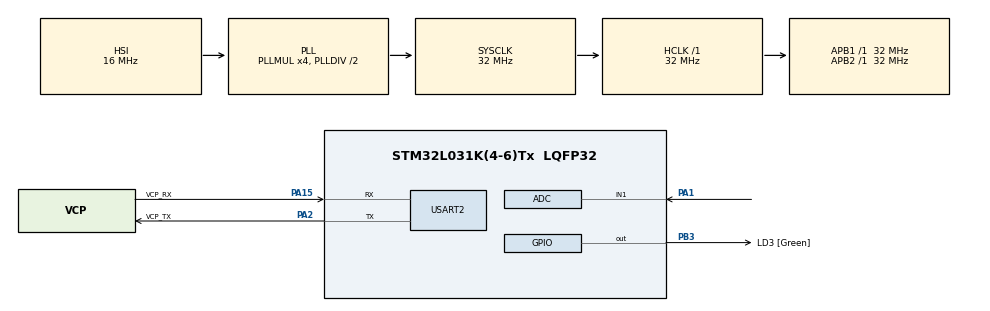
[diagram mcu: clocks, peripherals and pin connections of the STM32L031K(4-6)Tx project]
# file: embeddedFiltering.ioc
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ADC.ContinuousConvMode=DISABLE
ADC.DMAContinuousRequests=ENABLE
ADC.ExternalTrigConv=ADC_EXTERNALTRIGCONV_T2_TRGO
ADC.Resolution=ADC_RESOLUTION_12B
ADC.SamplingTime=ADC_SAMPLETIME_160CYCLES_5
Dma.ADC.0.Direction=DMA_PERIPH_TO_MEMORY
Dma.ADC.0.Instance=DMA1_Channel1
Dma.ADC.0.MemDataAlignment=DMA_MDATAALIGN_HALFWORD
Dma.ADC.0.MemInc=DMA_MINC_ENABLE
Dma.ADC.0.Mode=DMA_CIRCULAR
Dma.ADC.0.PeriphDataAlignment=DMA_PDATAALIGN_HALFWORD
Dma.ADC.0.PeriphInc=DMA_PINC_DISABLE
Dma.ADC.0.Priority=DMA_PRIORITY_MEDIUM
Dma.Request0=ADC
Mcu.Family=STM32L0
Mcu.Name=STM32L031K(4-6)Tx
Mcu.Package=LQFP32
NVIC.DMA1_Channel1_IRQn=true\:0\:0\:false\:false\:true\:false\:true\:true
NVIC.TIM2_IRQn=true\:0\:0\:false\:false\:true\:true\:true\:true
NVIC.USART2_IRQn=true\:0\:0\:false\:false\:true\:true\:true\:true
PA0-CK_IN.Mode=HSE-External-Clock-Source-for-LittleNemo
PA0-CK_IN.Signal=RCC_CK_IN
PA1.Mode=IN1
PA1.Signal=ADC_IN1
PA13.GPIO_Label=TMS
PA13.Mode=Serial_Wire
PA13.Signal=SYS_SWDIO
PA14.GPIO_Label=TCK
PA14.Mode=Serial_Wire
PA14.Signal=SYS_SWCLK
PA15.GPIO_Label=VCP_RX
PA15.Mode=Asynchronous
PA15.Signal=USART2_RX
PA2.GPIO_Label=VCP_TX
PA2.Mode=Asynchronous
PA2.Signal=USART2_TX
PB3.GPIO_Label=LD3 [Green]
PB3.Signal=GPIO_Output
PC14-OSC32_IN.Mode=LSE-External-Oscillator
PC14-OSC32_IN.Signal=RCC_OSC32_IN
PC15-OSC32_OUT.Mode=LSE-External-Oscillator
PC15-OSC32_OUT.Signal=RCC_OSC32_OUT
ProjectManager.HeapSize=0x400
ProjectManager.StackSize=0x400
ProjectManager.TargetToolchain=STM32CubeIDE
RCC.AHBFreq_Value=32000000
RCC.APB1Freq_Value=32000000
RCC.APB1TimFreq_Value=32000000
RCC.APB2Freq_Value=32000000
RCC.APB2TimFreq_Value=32000000
RCC.HCLKFreq_Value=32000000
RCC.HSE_VALUE=8000000
RCC.HSI16_VALUE=16000000
RCC.HSI48_VALUE=48000000
RCC.HSI_VALUE=16000000
RCC.MSI_VALUE=2097000
RCC.PLLMUL=RCC_PLLMUL_4
RCC.SYSCLKFreq_VALUE=32000000
RCC.SYSCLKSource=RCC_SYSCLKSOURCE_PLLCLK
RCC.VCOOutputFreq_Value=64000000
TIM2.Period=31999
TIM2.Prescaler=0
TIM2.TIM_MasterOutputTrigger=TIM_TRGO_UPDATE
TIM2.TIM_MasterSlaveMode=TIM_MASTERSLAVEMODE_ENABLE
USART2.VirtualMode-Asynchronous=VM_ASYNC
USART2.WordLength=WORDLENGTH_8B
VP_TIM2_VS_ClockSourceINT.Mode=Internal
board=NUCLEO-L031K6

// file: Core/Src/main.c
/* USER CODE BEGIN Header */
/**
  ******************************************************************************
  * @file           : main.c
  * @brief          : Main program body
  ******************************************************************************
  * @attention
  *
  * Copyright (c) 2025 STMicroelectronics.
  * All rights reserved.
  *
  * This software is licensed under terms that can be found in the LICENSE file
  * in the root directory of this software component.
  * If no LICENSE file comes with this software, it is provided AS-IS.
  *
  ******************************************************************************
  */
/* USER CODE END Header */
#include "main.h"

/* USER CODE BEGIN Includes */
#include "filter.h"
/* USER CODE END Includes */

/* USER CODE BEGIN PD */
#define SAMPLE_RATE 1000.0f
/* USER CODE END PD */

ADC_HandleTypeDef hadc;
DMA_HandleTypeDef hdma_adc;

TIM_HandleTypeDef htim2;

UART_HandleTypeDef huart2;

/* USER CODE BEGIN PV */
volatile uint32_t count = 0;

volatile uint32_t rawSignal = 0;
volatile uint32_t processedValue = 0;

char txBuffer[20];
uint8_t rxBuffer;

volatile int txReady = 1;
volatile uint8_t isStreaming = 0;
volatile uint8_t filterMode = 0;

BWLowPass  filtLPF;
BWHighPass filtHPF;
BWBandPass filtBPF;
BWBandStop filtBSF;

/* USER CODE END PV */

void SystemClock_Config(void);
static void MX_GPIO_Init(void);
static void MX_DMA_Init(void);
static void MX_USART2_UART_Init(void);
static void MX_ADC_Init(void);
static void MX_TIM2_Init(void);
/* USER CODE BEGIN PFP */
void Tiny_UIntToString(uint32_t value, char* buffer);
/* USER CODE END PFP */

int main(void)
{

  /* MCU Configuration--------------------------------------------------------*/

  /* Reset of all peripherals, Initializes the Flash interface and the Systick. */
  HAL_Init();

  /* Configure the system clock */
  SystemClock_Config();

  /* Initialize all configured peripherals */
  MX_GPIO_Init();
  MX_DMA_Init();
  MX_USART2_UART_Init();
  MX_ADC_Init();
  MX_TIM2_Init();
  /* USER CODE BEGIN 2 */
  HAL_TIM_Base_Start_IT(&htim2);
  HAL_ADC_Start_DMA(&hadc, (uint32_t*)(void*)&rawSignal, 1);
  HAL_UART_Transmit_IT(&huart2, (uint8_t*)txBuffer, 1);
  HAL_UART_Receive_IT(&huart2, &rxBuffer, 1);

  init_bw_low_pass(&filtLPF, 4, SAMPLE_RATE, 15.0f);
  init_bw_high_pass(&filtHPF, 4, SAMPLE_RATE, 95.0f);
  init_bw_band_pass(&filtBPF, 4, SAMPLE_RATE, 45.0f, 55.0f);
  init_bw_band_stop(&filtBSF, 4, SAMPLE_RATE, 40.0f, 60.0f);

  /* USER CODE END 2 */

  /* Infinite loop */
  while (1)
  {

  }
}

void SystemClock_Config(void)
{
  RCC_OscInitTypeDef RCC_OscInitStruct = {0};
  RCC_ClkInitTypeDef RCC_ClkInitStruct = {0};
  RCC_PeriphCLKInitTypeDef PeriphClkInit = {0};

  /** Configure the main internal regulator output voltage
  */
  __HAL_PWR_VOLTAGESCALING_CONFIG(PWR_REGULATOR_VOLTAGE_SCALE1);

  /** Initializes the RCC Oscillators according to the specified parameters
  * in the RCC_OscInitTypeDef structure.
  */
  RCC_OscInitStruct.OscillatorType = RCC_OSCILLATORTYPE_HSI;
  RCC_OscInitStruct.HSIState = RCC_HSI_ON;
  RCC_OscInitStruct.HSICalibrationValue = RCC_HSICALIBRATION_DEFAULT;
  RCC_OscInitStruct.PLL.PLLState = RCC_PLL_ON;
  RCC_OscInitStruct.PLL.PLLSource = RCC_PLLSOURCE_HSI;
  RCC_OscInitStruct.PLL.PLLMUL = RCC_PLLMUL_4;
  RCC_OscInitStruct.PLL.PLLDIV = RCC_PLLDIV_2;
  if (HAL_RCC_OscConfig(&RCC_OscInitStruct) != HAL_OK)
  {
    Error_Handler();
  }

  /** Initializes the CPU, AHB and APB buses clocks
  */
  RCC_ClkInitStruct.ClockType = RCC_CLOCKTYPE_HCLK|RCC_CLOCKTYPE_SYSCLK
                              |RCC_CLOCKTYPE_PCLK1|RCC_CLOCKTYPE_PCLK2;
  RCC_ClkInitStruct.SYSCLKSource = RCC_SYSCLKSOURCE_PLLCLK;
  RCC_ClkInitStruct.AHBCLKDivider = RCC_SYSCLK_DIV1;
  RCC_ClkInitStruct.APB1CLKDivider = RCC_HCLK_DIV1;
  RCC_ClkInitStruct.APB2CLKDivider = RCC_HCLK_DIV1;

  if (HAL_RCC_ClockConfig(&RCC_ClkInitStruct, FLASH_LATENCY_1) != HAL_OK)
  {
    Error_Handler();
  }
  PeriphClkInit.PeriphClockSelection = RCC_PERIPHCLK_USART2;
  PeriphClkInit.Usart2ClockSelection = RCC_USART2CLKSOURCE_PCLK1;
  if (HAL_RCCEx_PeriphCLKConfig(&PeriphClkInit) != HAL_OK)
  {
    Error_Handler();
  }
}

static void MX_ADC_Init(void)
{

  ADC_ChannelConfTypeDef sConfig = {0};

  /** Configure the global features of the ADC (Clock, Resolution, Data Alignment and number of conversion)
  */
  hadc.Instance = ADC1;
  hadc.Init.OversamplingMode = DISABLE;
  hadc.Init.ClockPrescaler = ADC_CLOCK_SYNC_PCLK_DIV2;
  hadc.Init.Resolution = ADC_RESOLUTION_12B;
  hadc.Init.SamplingTime = ADC_SAMPLETIME_160CYCLES_5;
  hadc.Init.ScanConvMode = ADC_SCAN_DIRECTION_FORWARD;
  hadc.Init.DataAlign = ADC_DATAALIGN_RIGHT;
  hadc.Init.ContinuousConvMode = DISABLE;
  hadc.Init.DiscontinuousConvMode = DISABLE;
  hadc.Init.ExternalTrigConvEdge = ADC_EXTERNALTRIGCONVEDGE_RISING;
  hadc.Init.ExternalTrigConv = ADC_EXTERNALTRIGCONV_T2_TRGO;
  hadc.Init.DMAContinuousRequests = ENABLE;
  hadc.Init.EOCSelection = ADC_EOC_SINGLE_CONV;
  hadc.Init.Overrun = ADC_OVR_DATA_PRESERVED;
  hadc.Init.LowPowerAutoWait = DISABLE;
  hadc.Init.LowPowerFrequencyMode = DISABLE;
  hadc.Init.LowPowerAutoPowerOff = DISABLE;
  if (HAL_ADC_Init(&hadc) != HAL_OK)
  {
    Error_Handler();
  }

  /** Configure for the selected ADC regular channel to be converted.
  */
  sConfig.Channel = ADC_CHANNEL_1;
  sConfig.Rank = ADC_RANK_CHANNEL_NUMBER;
  if (HAL_ADC_ConfigChannel(&hadc, &sConfig) != HAL_OK)
  {
    Error_Handler();
  }

}

static void MX_TIM2_Init(void)
{

  TIM_ClockConfigTypeDef sClockSourceConfig = {0};
  TIM_MasterConfigTypeDef sMasterConfig = {0};

  htim2.Instance = TIM2;
  htim2.Init.Prescaler = 0;
  htim2.Init.CounterMode = TIM_COUNTERMODE_UP;
  htim2.Init.Period = 31999;
  htim2.Init.ClockDivision = TIM_CLOCKDIVISION_DIV1;
  htim2.Init.AutoReloadPreload = TIM_AUTORELOAD_PRELOAD_DISABLE;
  if (HAL_TIM_Base_Init(&htim2) != HAL_OK)
  {
    Error_Handler();
  }
  sClockSourceConfig.ClockSource = TIM_CLOCKSOURCE_INTERNAL;
  if (HAL_TIM_ConfigClockSource(&htim2, &sClockSourceConfig) != HAL_OK)
  {
    Error_Handler();
  }
  sMasterConfig.MasterOutputTrigger = TIM_TRGO_UPDATE;
  sMasterConfig.MasterSlaveMode = TIM_MASTERSLAVEMODE_ENABLE;
  if (HAL_TIMEx_MasterConfigSynchronization(&htim2, &sMasterConfig) != HAL_OK)
  {
    Error_Handler();
  }

}

static void MX_USART2_UART_Init(void)
{

  huart2.Instance = USART2;
  huart2.Init.BaudRate = 115200;
  huart2.Init.WordLength = UART_WORDLENGTH_8B;
  huart2.Init.StopBits = UART_STOPBITS_1;
  huart2.Init.Parity = UART_PARITY_NONE;
  huart2.Init.Mode = UART_MODE_TX_RX;
  huart2.Init.HwFlowCtl = UART_HWCONTROL_NONE;
  huart2.Init.OverSampling = UART_OVERSAMPLING_16;
  huart2.Init.OneBitSampling = UART_ONE_BIT_SAMPLE_DISABLE;
  huart2.AdvancedInit.AdvFeatureInit = UART_ADVFEATURE_NO_INIT;
  if (HAL_UART_Init(&huart2) != HAL_OK)
  {
    Error_Handler();
  }

}

static void MX_DMA_Init(void)
{

  /* DMA controller clock enable */
  __HAL_RCC_DMA1_CLK_ENABLE();

  /* DMA interrupt init */
  /* DMA1_Channel1_IRQn interrupt configuration */
  HAL_NVIC_SetPriority(DMA1_Channel1_IRQn, 0, 0);
  HAL_NVIC_EnableIRQ(DMA1_Channel1_IRQn);

}

static void MX_GPIO_Init(void)
{
  GPIO_InitTypeDef GPIO_InitStruct = {0};

  /* GPIO Ports Clock Enable */
  __HAL_RCC_GPIOC_CLK_ENABLE();
  __HAL_RCC_GPIOA_CLK_ENABLE();
  __HAL_RCC_GPIOB_CLK_ENABLE();

  /*Configure GPIO pin Output Level */
  HAL_GPIO_WritePin(LD3_GPIO_Port, LD3_Pin, GPIO_PIN_RESET);

  /*Configure GPIO pin : LD3_Pin */
  GPIO_InitStruct.Pin = LD3_Pin;
  GPIO_InitStruct.Mode = GPIO_MODE_OUTPUT_PP;
  GPIO_InitStruct.Pull = GPIO_NOPULL;
  GPIO_InitStruct.Speed = GPIO_SPEED_FREQ_LOW;
  HAL_GPIO_Init(LD3_GPIO_Port, &GPIO_InitStruct);

}

/* USER CODE BEGIN 4 */
/* USER CODE BEGIN 4 */
/* USER CODE BEGIN 4 */
void HAL_TIM_PeriodElapsedCallback(TIM_HandleTypeDef *htim){
    if (htim->Instance == TIM2){
        float input = (float)rawSignal;
        float output = input;

        switch (filterMode) {
            case 0: // Raw
                output = input;
                break;
            case 1: // LPF
                // LPF passes DC, so it usually doesn't need bias adjustment
                output = bw_low_pass(&filtLPF, input);
                break;
            case 2: // HPF
                // HPF removes DC (output centers at 0).
                // We add 2048 to see the AC signal on the 0-4095 plot.
                output = bw_high_pass(&filtHPF, input) + 2048.0f;
                break;
            case 3: // BPF
                // BPF also removes DC. Add bias.
                output = bw_band_pass(&filtBPF, input) + 2048.0f;
                break;
            case 4: // BSF
                // BSF passes DC, so we don't add bias (input DC is preserved)
                output = bw_band_stop(&filtBSF, input);
                break;
            default:
                output = input;
                break;
        }

        // Clamp to safety
        if (output < 0.0f) output = 0.0f;
        if (output > 4095.0f) output = 4095.0f;

        processedValue = (uint32_t)output;
    }
}

void HAL_ADC_ConvCpltCallback(ADC_HandleTypeDef *hadc)
{
    if (hadc->Instance == ADC1)
    {
        if (isStreaming == 1 && txReady == 1) {
            txReady = 0;

            Tiny_UIntToString(processedValue, txBuffer);
            uint8_t len = 0;
            while(txBuffer[len] != '\0') len++;

            HAL_UART_Transmit_IT(&huart2, (uint8_t*)txBuffer, len);
        }
    }
}

void HAL_UART_TxCpltCallback(UART_HandleTypeDef *huart){
	if (huart->Instance == USART2){
		txReady = 1;
	}
}

void HAL_UART_RxCpltCallback(UART_HandleTypeDef *huart){
    if (huart->Instance == USART2){
        switch (rxBuffer) {
            case 's':
                filterMode = 0;
                isStreaming = 1;
                if (htim2.State != HAL_TIM_STATE_BUSY) HAL_TIM_Base_Start_IT(&htim2);
                break;
            case 'p':
                isStreaming = 0;
                HAL_TIM_Base_Stop_IT(&htim2);
                break;
            case 'a':
                filterMode = 1;
                break;
            case 'b':
                filterMode = 2;
                break;
            case 'c':
                filterMode = 3;
                break;
            case 'd':
                filterMode = 4;
                break;
        }
        HAL_UART_Receive_IT(&huart2, &rxBuffer, 1);
    }
}

void Tiny_UIntToString(uint32_t value, char* buffer) {
    char temp[12];
    int i = 0;

    if (value == 0) {
        buffer[0] = '0';
        buffer[1] = '\r';
        buffer[2] = '\n';
        buffer[3] = '\0';
        return;
    }

    while (value > 0) {
        temp[i++] = (value % 10) + '0';
        value /= 10;
    }

    int j = 0;
    while (i > 0) {
        buffer[j++] = temp[--i];
    }

    buffer[j++] = '\r';
    buffer[j++] = '\n';
    buffer[j] = '\0';
}
/* USER CODE END 0 */

void HAL_UART_ErrorCallback(UART_HandleTypeDef *huart){
    if (huart->Instance == USART2 && huart->ErrorCode != HAL_UART_ERROR_NONE){
        HAL_UART_Abort_IT(&huart2);
        HAL_UART_DeInit(&huart2);
        HAL_UART_Init(&huart2);
        HAL_UART_Receive_IT(&huart2, &rxBuffer, 1);

        // Manual string length calculation
        uint8_t len = 0;
        while(txBuffer[len] != '\0') {
            len++;
            if(len >= 20) break; // Safety break
        }
        HAL_UART_Transmit_IT(&huart2, (uint8_t*)txBuffer, len);
    }
}

void HAL_ADC_ErrorCallback(ADC_HandleTypeDef *hadc){
	if (hadc->Instance == ADC1){
		HAL_ADC_Stop_DMA(hadc);
		HAL_ADC_Start_DMA(hadc, (uint32_t*)(void*)&rawSignal, 1);
	}
}
/* USER CODE END 4 */

void Error_Handler(void)
{
  __disable_irq();
  while (1)
  {
  }
}
